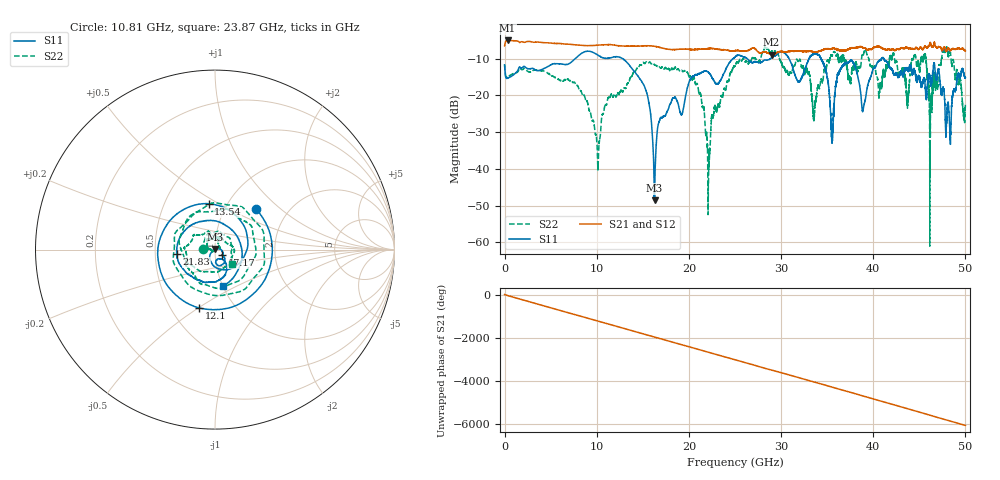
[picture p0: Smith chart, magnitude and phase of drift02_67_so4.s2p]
!Created with skrf (http://scikit-rf.org).
# Hz S RI R 50.0
!freq ReS11 ImS11 ReS21 ImS21 ReS12 ImS12 ReS22 ImS22
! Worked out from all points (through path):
!   10001 points, 300 kHz to 50 GHz, reference 50 ohm
!   highest |S21| = -5.04 dB at 320.3 MHz (marker M1); lowest = -8.9 dB at 28.98 GHz (marker M2)
!   group delay of S21, straight-line fit = 336 ps
!   lowest |S11| = -48.5 dB at 16.27 GHz (marker M3), VSWR 1.01, Z = 49.9 + j0.356 ohm
!   |S11| at or under -10 dB: start of sweep to 7.669 GHz; 12.82 GHz to 24.79 GHz (11.97 GHz wide, 63.7 % of centre); 41.13 GHz to end of sweep (the widest 3 of 9)
!   |S22| runs from -61.0 to -6.7 dB; largest |S21 - S12| = 0.03
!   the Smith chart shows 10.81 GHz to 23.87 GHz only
!   S11 on the Smith chart (normalised r, x): 10.81 GHz: 1.38, +0.70; 12.1 GHz: 0.69, -0.50; 13.54 GHz: 0.82, +0.45; 17.17 GHz: 1.08, -0.06; 21.83 GHz: 0.65, -0.03; 23.87 GHz: 1.00, -0.42
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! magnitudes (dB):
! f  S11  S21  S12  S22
! 300 kHz  -11.7  -6.5  -6.5  -11.6
! 320.3 MHz  -15.3  -5.0  -5.0  -15.1
! 8.335 GHz  -8.6  -6.4  -6.4  -19.1
! 10.11 GHz  -9.0  -6.3  -6.3  -38.7
! 10.81 GHz  -9.8  -6.2  -6.2  -23.6
! 12.1 GHz  -9.5  -6.4  -6.4  -20.4
! 13.54 GHz  -11.8  -6.6  -6.6  -16.0
! 16.27 GHz  -48.5  -6.6  -6.6  -11.7
! 16.67 GHz  -27.8  -6.8  -6.8  -12.1
! 17.17 GHz  -25.9  -7.1  -7.2  -12.6
! 21.83 GHz  -13.4  -7.4  -7.4  -30.1
! 23.87 GHz  -13.7  -7.6  -7.6  -18.3
! 25 GHz  -9.6  -7.8  -7.9  -11.9
! 28.98 GHz  -9.8  -8.9  -8.8  -8.0
! 33.34 GHz  -9.1  -8.0  -8.0  -20.1
! 35.54 GHz  -32.1  -7.3  -7.2  -9.1
! 36.8 GHz  -11.7  -7.8  -7.7  -9.9
! 41.67 GHz  -11.9  -7.4  -7.5  -11.8
! 45.5 GHz  -15.3  -7.0  -6.9  -9.3
! 46.25 GHz  -17.5  -6.1  -6.1  -21.5
! 48.13 GHz  -22.0  -7.1  -7.1  -9.4
! 50 GHz  -15.2  -7.9  -7.9  -22.2
